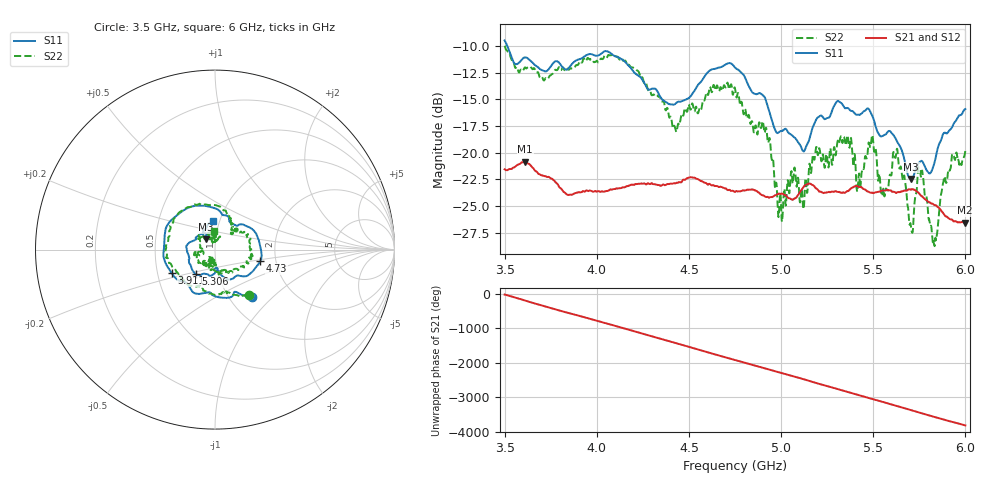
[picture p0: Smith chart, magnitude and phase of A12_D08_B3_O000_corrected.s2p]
! Created with skrf 1.9.0 (http://scikit-rf.org).
# Hz S RI R 50.0
!freq ReS11 ImS11 ReS21 ImS21 ReS12 ImS12 ReS22 ImS22
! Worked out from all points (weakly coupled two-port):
!   1601 points, 3.5 GHz to 6 GHz, reference 50 ohm
!   highest |S21| = -20.86 dB at 3.611 GHz (marker M1); lowest = -26.6 dB at 5.995 GHz (marker M2)
!   lowest |S11| = -22.5 dB at 5.706 GHz (marker M3), VSWR 1.16, Z = 45 + j5.14 ohm
!   |S11| at or under -10 dB: 3.514 GHz to end of sweep
!   |S22| runs from -28.8 to -10.0 dB; largest |S21 - S12| = 0.0012
!   S11 on the Smith chart (normalised r, x): 3.5 GHz: 1.27, -0.75; 3.911 GHz: 0.59, -0.17; 4.73 GHz: 1.66, -0.22; 5.306 GHz: 0.78, -0.22; 6 GHz: 0.93, +0.31
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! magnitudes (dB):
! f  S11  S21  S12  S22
! 3.5 GHz  -9.5  -21.6  -21.5  -10.0
! 3.611 GHz  -11.1  -20.9  -20.9  -12.0
! 3.911 GHz  -11.2  -23.7  -23.7  -11.5
! 3.917 GHz  -11.2  -23.7  -23.7  -11.6
! 4.334 GHz  -14.4  -23.0  -23.0  -14.8
! 4.425 GHz  -15.4  -22.9  -22.9  -17.7
! 4.73 GHz  -11.7  -23.6  -23.5  -13.6
! 4.75 GHz  -12.0  -23.7  -23.6  -14.0
! 4.911 GHz  -14.8  -24.1  -24.0  -18.1
! 4.995 GHz  -18.0  -23.9  -23.8  -23.8
! 5.167 GHz  -17.9  -23.0  -23.0  -21.1
! 5.306 GHz  -15.2  -23.7  -23.6  -19.0
! 5.42 GHz  -16.5  -23.2  -23.2  -22.2
! 5.489 GHz  -16.4  -23.8  -23.7  -19.0
! 5.584 GHz  -18.0  -23.5  -23.5  -22.8
! 5.623 GHz  -18.7  -23.8  -23.8  -20.3
! 5.706 GHz  -22.5  -23.5  -23.4  -27.1
! 5.755 GHz  -20.8  -23.9  -23.9  -21.8
! 5.834 GHz  -20.8  -24.9  -24.9  -28.6
! 5.88 GHz  -18.2  -25.7  -25.7  -22.8
! 5.995 GHz  -16.0  -26.6  -26.5  -20.3
! 6 GHz  -15.9  -26.5  -26.5  -19.8
